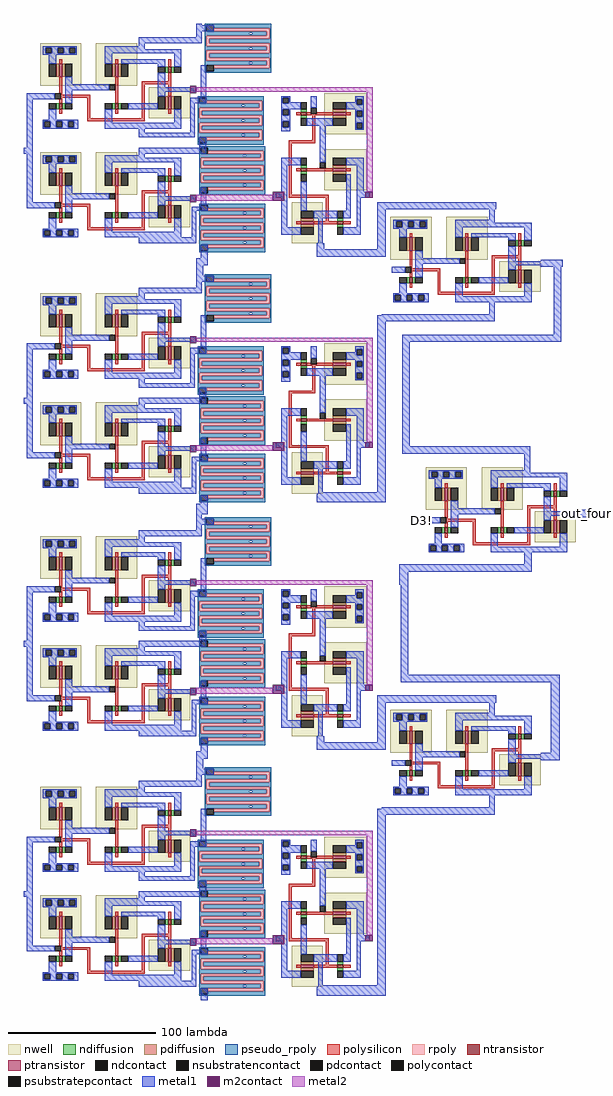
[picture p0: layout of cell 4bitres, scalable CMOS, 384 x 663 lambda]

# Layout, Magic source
magic
tech scmos
<< metal1 >>
rect 343 177 351 182
rect 345 131 350 177
rect 242 126 350 131
rect 242 55 247 126
rect 242 50 329 55
rect 325 39 329 50
rect 102 9 110 16
rect 102 5 106 9
rect 361 7 369 12
rect 255 3 265 7
rect 325 -25 330 -16
rect 240 -30 330 -25
rect 240 -39 246 -30
rect 241 -100 246 -39
rect 241 -105 349 -100
rect 343 -158 349 -105
use 3bitres  3bitres_0
transform 1 0 79 0 1 142
box -94 -128 267 200
use vsdswitch  vsdswitch_0
transform 1 0 275 0 1 11
box -17 -32 89 32
use 3bitres  3bitres_1
transform 1 0 79 0 1 -193
box -94 -128 267 200
<< labels >>
rlabel metal1 369 7 369 12 7 out_four
rlabel metal1 255 3 255 7 1 D3!
<< end >>

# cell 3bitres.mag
magic
tech scmos
<< metal1 >>
rect 146 74 227 79
rect 105 47 110 48
rect 146 47 152 74
rect 222 67 226 74
rect 26 41 31 44
rect 105 42 152 47
rect 23 36 31 41
rect 23 29 28 36
rect 259 35 267 40
rect 156 31 159 35
rect 222 3 226 10
rect 149 2 226 3
rect 146 -2 226 2
rect 146 -118 152 -2
rect 106 -125 152 -118
use 2bitres  2bitres_0
transform 1 0 -76 0 1 110
box -18 -68 219 90
use 2bitres  2bitres_1
transform 1 0 -76 0 1 -60
box -18 -68 219 90
use vsdswitch  vsdswitch_0
transform 1 0 172 0 1 39
box -17 -32 89 32
<< labels >>
rlabel metal1 267 35 267 40 7 out_three
rlabel metal1 156 31 156 35 1 D2!
<< end >>

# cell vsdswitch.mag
magic
tech scmos
<< nwell >>
rect -17 1 11 30
rect 21 1 49 30
rect 57 -21 85 0
<< ntransistor >>
rect 70 10 72 14
rect -4 -15 -2 -11
rect 34 -15 36 -11
<< ptransistor >>
rect -4 7 -2 16
rect 34 7 36 16
rect 70 -15 72 -6
<< ndiffusion >>
rect 68 10 70 14
rect 72 10 74 14
rect -6 -15 -4 -11
rect -2 -15 0 -11
rect 32 -15 34 -11
rect 36 -15 38 -11
<< pdiffusion >>
rect -6 7 -4 16
rect -2 7 0 16
rect 32 7 34 16
rect 36 7 38 16
rect 68 -15 70 -6
rect 72 -15 74 -6
<< ndcontact >>
rect 63 10 68 14
rect 74 10 79 14
rect -11 -15 -6 -11
rect 0 -15 5 -11
rect 27 -15 32 -11
rect 38 -15 43 -11
<< pdcontact >>
rect -11 7 -6 16
rect 0 7 5 16
rect 27 7 32 16
rect 38 7 43 16
rect 63 -15 68 -6
rect 74 -15 79 -6
<< psubstratepcontact >>
rect -14 -27 -10 -23
rect -6 -27 -2 -23
rect 2 -27 6 -23
<< nsubstratencontact >>
rect -13 23 -9 27
rect -5 23 -1 27
rect 3 23 7 27
<< polysilicon >>
rect -4 16 -2 19
rect 34 16 36 19
rect 70 14 72 19
rect -4 -4 -2 7
rect -3 -5 -2 -4
rect -3 -7 17 -5
rect -3 -8 -2 -7
rect -4 -11 -2 -8
rect -4 -18 -2 -15
rect 15 -21 17 -7
rect 34 -11 36 7
rect 70 4 72 10
rect 52 2 72 4
rect 34 -18 36 -15
rect 52 -21 54 2
rect 70 -6 72 2
rect 70 -18 72 -15
rect 15 -23 54 -21
<< polycontact >>
rect 30 -2 34 2
rect -7 -8 -3 -4
<< metal1 >>
rect 50 28 54 32
rect -15 27 8 28
rect -15 23 -13 27
rect -9 23 -5 27
rect -1 23 3 27
rect 7 23 8 27
rect -15 22 8 23
rect 27 26 54 28
rect 27 23 79 26
rect -11 16 -6 22
rect 27 16 32 23
rect 38 16 68 19
rect 63 14 68 16
rect 74 14 79 23
rect 0 2 5 7
rect 0 -2 30 2
rect 63 0 68 10
rect 85 0 89 1
rect -14 -8 -7 -4
rect 0 -11 5 -2
rect 63 -3 89 0
rect 63 -6 68 -3
rect 85 -4 89 -3
rect 43 -15 63 -11
rect -11 -22 -6 -15
rect -15 -23 9 -22
rect -15 -27 -14 -23
rect -10 -27 -6 -23
rect -2 -27 2 -23
rect 6 -27 9 -23
rect -15 -28 9 -27
rect 27 -24 32 -15
rect 74 -24 79 -15
rect 27 -28 79 -24
rect 50 -32 54 -28
<< labels >>
rlabel metal1 -7 25 -7 25 5 vdd!
rlabel metal1 -8 -26 -8 -26 1 gnd!
rlabel metal1 50 -32 54 -32 1 in_2
rlabel metal1 89 -4 89 1 7 VOUT
rlabel metal1 50 32 54 32 5 in_1
rlabel metal1 5 -2 5 2 1 invout
rlabel metal1 -14 -8 -14 -4 3 dig_in
<< end >>

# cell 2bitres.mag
magic
tech scmos
<< metal1 >>
rect 99 89 103 90
rect 99 85 111 89
rect 99 81 103 85
rect 60 77 103 81
rect 60 75 64 77
rect -16 39 0 43
rect 102 40 106 62
rect -16 6 -12 39
rect 95 36 106 40
rect 177 39 181 41
rect 95 16 98 36
rect 60 13 98 16
rect 101 6 106 13
rect -18 2 -12 6
rect 60 4 106 6
rect 64 2 106 4
rect -16 -31 -12 2
rect -16 -35 -4 -31
rect 102 -34 106 -21
rect 96 -37 107 -34
rect 96 -55 99 -37
rect 64 -59 99 -55
rect 102 -68 107 -60
rect 181 -65 186 -62
<< m2contact >>
rect 95 43 99 48
rect 95 -31 99 -26
rect 151 -30 159 -24
rect 214 -28 219 -24
<< metal2 >>
rect 99 44 219 47
rect 215 -24 219 44
rect 99 -30 151 -26
use vsdswitch  vsdswitch_0
transform 1 0 10 0 1 47
box -17 -32 89 32
use resistor2  resistor2_0
transform 1 0 114 0 1 79
box -9 -22 36 11
use resistor2  resistor2_1
transform 1 0 109 0 1 30
box -9 -22 36 11
use vsdswitch  vsdswitch_1
transform 1 0 10 0 1 -27
box -17 -32 89 32
use resistor2  resistor2_2
transform 1 0 110 0 1 -4
box -9 -22 36 11
use resistor2  resistor2_3
transform 1 0 110 0 1 -43
box -9 -22 36 11
use vsdswitch  vsdswitch_2
transform 0 1 185 -1 0 26
box -17 -32 89 32
<< labels >>
rlabel metal1 -18 2 -18 6 3 D0!
rlabel metal1 102 -68 107 -68 1 res_out
rlabel metal1 99 90 103 90 5 res_in
rlabel metal1 177 41 181 41 1 D1!
rlabel metal1 181 -65 186 -65 1 output
<< end >>

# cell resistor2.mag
magic
tech scmos
<< polycontact >>
rect -8 6 -3 10
rect -8 -21 -3 -17
<< pseudo_rpoly >>
rect -9 10 36 11
rect -9 6 -8 10
rect -3 8 36 10
rect -9 5 33 6
rect -9 4 21 5
rect 23 4 33 5
rect -9 3 33 4
rect -9 -4 -8 3
rect 35 1 36 8
rect -6 -2 36 1
rect -9 -5 33 -4
rect -9 -6 21 -5
rect 23 -6 33 -5
rect -9 -7 33 -6
rect -9 -14 -8 -7
rect 35 -9 36 -2
rect -6 -12 36 -9
rect -9 -15 33 -14
rect -9 -16 21 -15
rect 23 -16 33 -15
rect -9 -17 33 -16
rect -9 -21 -8 -17
rect 35 -19 36 -12
rect -3 -21 36 -19
rect -9 -22 36 -21
<< rpoly >>
rect -3 6 35 8
rect 33 3 35 6
rect -8 1 35 3
rect -8 -2 -6 1
rect -8 -4 35 -2
rect 33 -7 35 -4
rect -8 -9 35 -7
rect -8 -12 -6 -9
rect -8 -14 35 -12
rect 33 -17 35 -14
rect -3 -19 35 -17
<< labels >>
rlabel polycontact -6 8 -6 8 4 a
rlabel polycontact -5 -19 -5 -19 2 b
<< end >>
